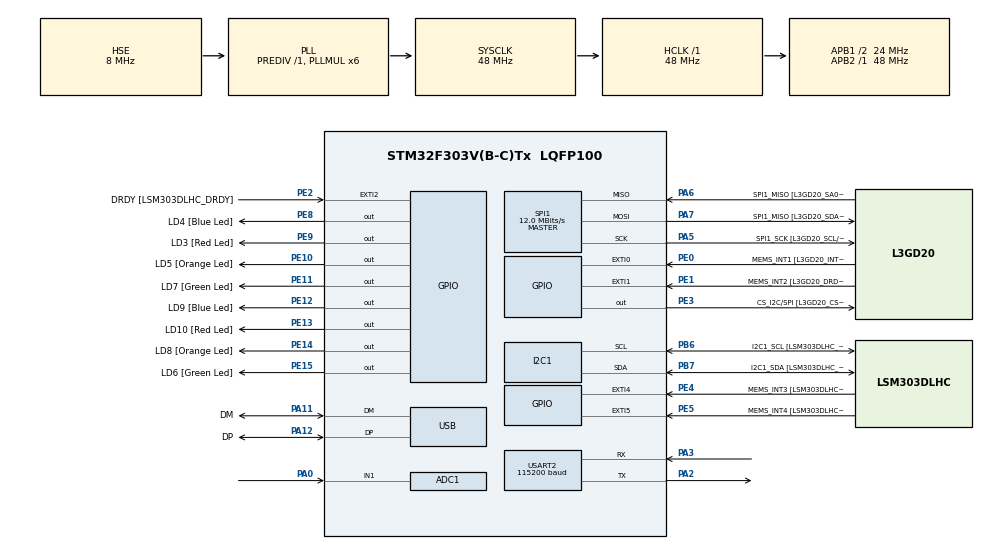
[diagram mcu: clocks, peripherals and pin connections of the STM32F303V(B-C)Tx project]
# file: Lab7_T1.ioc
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ADC1.Channel-0\#ChannelRegularConversion=ADC_CHANNEL_1
ADC1.ContinuousConvMode=ENABLE
ADC1.NbrOfConversionFlag=1
ADC1.Offset-0\#ChannelRegularConversion=0
ADC1.OffsetNumber-0\#ChannelRegularConversion=ADC_OFFSET_NONE
ADC1.Rank-0\#ChannelRegularConversion=1
ADC1.SamplingTime-0\#ChannelRegularConversion=ADC_SAMPLETIME_1CYCLE_5
ADC1.master=1
I2C1.Timing=0x2000090E
I2C1.Timing-I2C=0x2000090E
Mcu.Family=STM32F3
Mcu.Name=STM32F303V(B-C)Tx
Mcu.Package=LQFP100
NVIC.ADC1_2_IRQn=true\:0\:0\:false\:false\:true\:true\:true\:true
NVIC.PriorityGroup=NVIC_PRIORITYGROUP_0
NVIC.USART2_IRQn=true\:0\:0\:false\:false\:true\:true\:true\:true
PA0.Mode=IN1-Single-Ended
PA0.Signal=ADC1_IN1
PA11.GPIO_Label=DM
PA11.Mode=Device
PA11.Signal=USB_DM
PA12.GPIO_Label=DP
PA12.Mode=Device
PA12.Signal=USB_DP
PA13.GPIO_Label=SWDIO
PA13.Mode=Serial_Wire
PA13.Signal=SYS_JTMS-SWDIO
PA14.GPIO_Label=SWCLK
PA14.Mode=Serial_Wire
PA14.Signal=SYS_JTCK-SWCLK
PA2.Mode=Asynchronous
PA2.Signal=USART2_TX
PA3.Mode=Asynchronous
PA3.Signal=USART2_RX
PA5.GPIO_Label=SPI1_SCK [L3GD20_SCL/SPC]
PA5.Mode=Full_Duplex_Master
PA5.Signal=SPI1_SCK
PA6.GPIO_Label=SPI1_MISO [L3GD20_SA0/SDO]
PA6.Mode=Full_Duplex_Master
PA6.Signal=SPI1_MISO
PA7.GPIO_Label=SPI1_MISO [L3GD20_SDA/SDI/SDO]
PA7.Mode=Full_Duplex_Master
PA7.Signal=SPI1_MOSI
PB3.GPIO_Label=SWO
PB3.Signal=SYS_JTDO-TRACESWO
PB6.GPIO_Label=I2C1_SCL [LSM303DLHC_SCL]
PB6.GPIO_Pu=GPIO_PULLUP
PB6.Mode=I2C
PB6.Signal=I2C1_SCL
PB7.GPIO_Label=I2C1_SDA [LSM303DLHC_SDA]
PB7.GPIO_Pu=GPIO_PULLUP
PB7.Mode=I2C
PB7.Signal=I2C1_SDA
PC14-OSC32_IN.GPIO_Label=OSC32_IN
PC14-OSC32_IN.Signal=RCC_OSC32_IN
PC15-OSC32_OUT.GPIO_Label=OSC32_OUT
PC15-OSC32_OUT.Signal=RCC_OSC32_OUT
PE0.GPIO_Label=MEMS_INT1 [L3GD20_INT1]
PE0.GPIO_ModeDefaultEXTI=GPIO_MODE_EVT_RISING
PE0.Signal=GPXTI0
PE1.GPIO_Label=MEMS_INT2 [L3GD20_DRDY/INT2]
PE1.GPIO_ModeDefaultEXTI=GPIO_MODE_EVT_RISING
PE1.Signal=GPXTI1
PE10.GPIO_Label=LD5 [Orange Led]
PE10.Signal=GPIO_Output
PE11.GPIO_Label=LD7 [Green Led]
PE11.Signal=GPIO_Output
PE12.GPIO_Label=LD9 [Blue Led]
PE12.Signal=GPIO_Output
PE13.GPIO_Label=LD10 [Red Led]
PE13.Signal=GPIO_Output
PE14.GPIO_Label=LD8 [Orange Led]
PE14.Signal=GPIO_Output
PE15.GPIO_Label=LD6 [Green Led]
PE15.Signal=GPIO_Output
PE2.GPIO_Label=DRDY [LSM303DLHC_DRDY]
PE2.GPIO_ModeDefaultEXTI=GPIO_MODE_EVT_RISING
PE2.Signal=GPXTI2
PE3.GPIO_Label=CS_I2C/SPI [L3GD20_CS_I2C/SPI]
PE3.Signal=GPIO_Output
PE4.GPIO_Label=MEMS_INT3 [LSM303DLHC_INT1]
PE4.GPIO_ModeDefaultEXTI=GPIO_MODE_EVT_RISING
PE4.Signal=GPXTI4
PE5.GPIO_Label=MEMS_INT4 [LSM303DLHC_INT2]
PE5.GPIO_ModeDefaultEXTI=GPIO_MODE_EVT_RISING
PE5.Signal=GPXTI5
PE8.GPIO_Label=LD4 [Blue Led]
PE8.Signal=GPIO_Output
PE9.GPIO_Label=LD3 [Red Led]
PE9.Signal=GPIO_Output
PF0-OSC_IN.GPIO_Label=OSC_IN
PF0-OSC_IN.Mode=HSE-External-Clock-Source
PF0-OSC_IN.Signal=RCC_OSC_IN
PF1-OSC_OUT.GPIO_Label=OSC_OUT
PF1-OSC_OUT.Signal=RCC_OSC_OUT
ProjectManager.HeapSize=0x200
ProjectManager.StackSize=0x400
ProjectManager.TargetToolchain=CMake
RCC.AHBFreq_Value=48000000
RCC.APB1CLKDivider=RCC_HCLK_DIV2
RCC.APB1Freq_Value=24000000
RCC.APB1TimFreq_Value=48000000
RCC.APB2Freq_Value=48000000
RCC.APB2TimFreq_Value=48000000
RCC.CortexFreq_Value=48000000
RCC.HCLKFreq_Value=48000000
RCC.HSE_VALUE=8000000
RCC.HSI_VALUE=8000000
RCC.LSE_VALUE=32768
RCC.PLLMUL=RCC_PLL_MUL6
RCC.SYSCLKFreq_VALUE=48000000
RCC.SYSCLKSourceVirtual=RCC_SYSCLKSOURCE_PLLCLK
RCC.USBFreq_Value=48000000
SPI1.BaudRatePrescaler=SPI_BAUDRATEPRESCALER_4
SPI1.BaudRatePrescaler-Full_Duplex_Master=SPI_BAUDRATEPRESCALER_2
SPI1.CalculateBaudRate=12.0 MBits/s
SPI1.CalculateBaudRate-Full_Duplex_Master=24.0 MBits/s
SPI1.Direction=SPI_DIRECTION_2LINES
SPI1.Mode=SPI_MODE_MASTER
SPI1.Mode-Full_Duplex_Master=SPI_MODE_MASTER
SPI1.VirtualType=VM_MASTER
STMicroelectronics.X-CUBE-ALGOBUILD.1.4.0.LibraryCcDSPOoLibraryJjDSPOoLibrary=true
USART2.BaudRate=115200
USART2.VirtualMode-Asynchronous=VM_ASYNC
VP_STMicroelectronics.X-CUBE-ALGOBUILD_VS_DSPOoLibraryJjLibrary_1.4.0_1.4.0.Mode=DSPOoLibraryJjLibrary
board=STM32F3DISCOVERY

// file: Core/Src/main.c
/* USER CODE BEGIN Header */
/**
  ******************************************************************************
  * @file           : main.c
  * @brief          : Lab 7 Task 2 - Signal Filtering Using CMSIS DSP
  ******************************************************************************
  * @attention
  *
  * Hardware Setup:
  * - Function generator output connected to PA1 (ADC1_IN1)
  *   - Signal: Sine wave, 1-100 Hz, 0-3.3V amplitude
  * - UART on PA2/PA3 for debug output to Python plotter
  *
  ******************************************************************************
  */
/* USER CODE END Header */

#include "main.h"
#include <stdio.h>
#include <string.h>
#include <stdarg.h>
#include <stdbool.h>

/* CMSIS DSP includes */
#include "arm_math.h"

/* USER CODE BEGIN PD */

#define FILTER_LEN      10           // Moving average filter length
#define SAMPLE_COUNT    100          // Number of samples to collect before sending
#define ADC_REF_VOLTAGE 3300         // Reference voltage in millivolts
#define ADC_MAX_VALUE   4095         // 12-bit ADC max value

/* USER CODE END PD */

ADC_HandleTypeDef hadc1;

I2C_HandleTypeDef hi2c1;

SPI_HandleTypeDef hspi1;

UART_HandleTypeDef huart2;

PCD_HandleTypeDef hpcd_USB_FS;

/* USER CODE BEGIN PV */

// UART buffer for printf
static char uart_buffer[256];

// ADC sample buffers
static volatile uint16_t adc_raw_buffer[SAMPLE_COUNT];
static volatile float32_t adc_float_buffer[SAMPLE_COUNT];
static volatile float32_t filtered_buffer[SAMPLE_COUNT];

// Moving average filter buffer
static float32_t filter_buffer[FILTER_LEN];
static uint8_t filter_index = 0;

// Sampling control
static volatile uint16_t sample_index = 0;
static volatile uint8_t sampling_complete = 0;
static volatile uint32_t sampling_start_time = 0;

/* USER CODE END PV */

void SystemClock_Config(void);
static void MX_GPIO_Init(void);
static void MX_ADC1_Init(void);
static void MX_I2C1_Init(void);
static void MX_SPI1_Init(void);
static void MX_USB_PCD_Init(void);
static void MX_USART2_UART_Init(void);

/* USER CODE BEGIN PFP */

// ===== UART FUNCTIONS =====
void UART_Printf(const char *format, ...);
void UART_SendString(char *str);
void Send_Data_to_Python(void);

// ===== ADC FUNCTIONS =====
void ADC_Init(void);
void ADC_Start_Continuous(void);
void ADC_Stop_Continuous(void);

// ===== FILTER FUNCTIONS =====
void Moving_Average_Init(void);
float32_t Moving_Average_Filter(float32_t new_sample);
void Apply_Filter_to_Buffer(void);

/* USER CODE END PFP */

/* USER CODE BEGIN 0 */

// ===== UART FUNCTIONS =====

/**
  * @brief Simplified printf using UART
  */
void UART_Printf(const char *format, ...)
{
    va_list args;
    va_start(args, format);
    vsnprintf(uart_buffer, sizeof(uart_buffer), format, args);
    va_end(args);

    HAL_UART_Transmit(&huart2, (uint8_t*)uart_buffer, strlen(uart_buffer), HAL_MAX_DELAY);
}

/**
  * @brief Send string over UART
  */
void UART_SendString(char *str)
{
    HAL_UART_Transmit(&huart2, (uint8_t*)str, strlen(str), HAL_MAX_DELAY);
}

/**
  * @brief Send raw and filtered data to Python for plotting
  * Format: raw_value,filtered_value\n
  */
void Send_Data_to_Python(void)
{
    for (int i = 0; i < SAMPLE_COUNT; i++)
    {
        // Convert ADC raw value to voltage (mV) for better plotting
        uint32_t raw_mv = (adc_raw_buffer[i] * ADC_REF_VOLTAGE) / ADC_MAX_VALUE;
        uint32_t filtered_mv = (uint32_t)(filtered_buffer[i] * 1000);  // Convert V to mV

        UART_Printf("%lu,%lu\r\n", raw_mv, filtered_mv);
    }
}

// ===== ADC FUNCTIONS =====

/**
  * @brief Initialize ADC
  */
void ADC_Init(void)
{
    HAL_ADCEx_Calibration_Start(&hadc1, ADC_SINGLE_ENDED);
}

/**
  * @brief Start continuous ADC conversion (interrupt mode)
  */
void ADC_Start_Continuous(void)
{
    sample_index = 0;
    sampling_complete = 0;
    sampling_start_time = HAL_GetTick();

    HAL_ADC_Start_IT(&hadc1);
}

/**
  * @brief Stop continuous ADC conversion
  */
void ADC_Stop_Continuous(void)
{
    HAL_ADC_Stop_IT(&hadc1);
}

/**
  * @brief ADC conversion complete callback
  */
void HAL_ADC_ConvCpltCallback(ADC_HandleTypeDef* hadc)
{
    if (hadc->Instance == ADC1)
    {
        // Store raw ADC value
        adc_raw_buffer[sample_index] = HAL_ADC_GetValue(hadc);

        // Convert to float for filtering (0.0 - 3.3V)
        adc_float_buffer[sample_index] = (adc_raw_buffer[sample_index] * 3.3f) / 4095.0f;

        sample_index++;

        // Check if we've collected enough samples
        if (sample_index >= SAMPLE_COUNT)
        {
            sampling_complete = 1;
            HAL_ADC_Stop_IT(hadc);
        }
        else
        {
            // Start next conversion
            HAL_ADC_Start_IT(hadc);
        }
    }
}

// ===== FILTER FUNCTIONS =====

/**
  * @brief Initialize moving average filter
  */
void Moving_Average_Init(void)
{
    filter_index = 0;

    for (int i = 0; i < FILTER_LEN; i++)
    {
        filter_buffer[i] = 0.0f;
    }
}

/**
  * @brief Apply moving average filter to new sample
  * @param new_sample New input sample
  * @return Filtered output
  */
float32_t Moving_Average_Filter(float32_t new_sample)
{
    float32_t sum = 0.0f;

    // Add new sample to buffer
    filter_buffer[filter_index] = new_sample;
    filter_index = (filter_index + 1) % FILTER_LEN;

    // Calculate average of all samples in buffer
    for (int i = 0; i < FILTER_LEN; i++)
    {
        sum += filter_buffer[i];
    }

    return sum / FILTER_LEN;
}

/**
  * @brief Apply filter to entire ADC buffer
  */
void Apply_Filter_to_Buffer(void)
{
    // Reset filter
    Moving_Average_Init();

    // Apply filter to each sample
    for (int i = 0; i < SAMPLE_COUNT; i++)
    {
        filtered_buffer[i] = Moving_Average_Filter(adc_float_buffer[i]);
    }
}

/* USER CODE END 0 */

int main(void)
{

    /* MCU Configuration--------------------------------------------------------*/

    /* Reset of all peripherals, Initializes the Flash interface and the Systick. */
    HAL_Init();

    /* Configure the system clock */
    SystemClock_Config();

    /* Initialize all configured peripherals */
    MX_GPIO_Init();
    MX_ADC1_Init();
    MX_I2C1_Init();
    MX_SPI1_Init();
    MX_USART2_UART_Init();
    MX_USB_PCD_Init();

    /* USER CODE BEGIN 2 */

    // Initialize modules
    ADC_Init();
    Moving_Average_Init();

    // Print header
    UART_Printf("\033[2J\033[H"); // Clear screen
    UART_Printf("========================================\r\n");
    UART_Printf("   LAB 7 TASK 2: SIGNAL FILTERING\r\n");
    UART_Printf("========================================\r\n\n");
    UART_Printf("ADC: 12-bit, Vref: 3.3V\r\n");
    UART_Printf("Filter: Moving Average (N=%d)\r\n", FILTER_LEN);
    UART_Printf("Sample Count: %d\r\n", SAMPLE_COUNT);
    UART_Printf("\r\nStarting data acquisition...\r\n\n");
    UART_Printf("Send this data to Python plotter\r\n");
    UART_Printf("Format: raw_mV,filtered_mV\r\n\n");

    /* USER CODE END 2 */

    /* Infinite loop */
    while (1)
    {

        /* USER CODE BEGIN 3 */

        // Start ADC sampling in interrupt mode
        ADC_Start_Continuous();

        // Wait for sampling to complete
        while (!sampling_complete)
        {
            HAL_Delay(1);
        }

        // Calculate actual sampling rate
        uint32_t sampling_time = HAL_GetTick() - sampling_start_time;
        float sampling_rate = (SAMPLE_COUNT * 1000.0f) / sampling_time;

        UART_Printf("\r\nCollected %d samples in %lu ms\r\n",
                   SAMPLE_COUNT, sampling_time);
        UART_Printf("Sampling rate: %.2f Hz\r\n\n", sampling_rate);

        // Apply filter to the buffer
        Apply_Filter_to_Buffer();

        // Send data to Python for plotting
        UART_Printf("=== DATA START ===\r\n");
        Send_Data_to_Python();
        UART_Printf("=== DATA END ===\r\n\n");

        // Wait before next acquisition
        UART_Printf("Waiting 2 seconds before next acquisition...\r\n\n");
        HAL_Delay(2000);
    }
    /* USER CODE END 3 */
}

void SystemClock_Config(void)
{
    RCC_OscInitTypeDef RCC_OscInitStruct = {0};
    RCC_ClkInitTypeDef RCC_ClkInitStruct = {0};
    RCC_PeriphCLKInitTypeDef PeriphClkInit = {0};

    /** Initializes the RCC Oscillators according to the specified parameters
    * in the RCC_OscInitTypeDef structure.
    */
    RCC_OscInitStruct.OscillatorType = RCC_OSCILLATORTYPE_HSI|RCC_OSCILLATORTYPE_HSE;
    RCC_OscInitStruct.HSEState = RCC_HSE_BYPASS;
    RCC_OscInitStruct.HSEPredivValue = RCC_HSE_PREDIV_DIV1;
    RCC_OscInitStruct.HSIState = RCC_HSI_ON;
    RCC_OscInitStruct.HSICalibrationValue = RCC_HSICALIBRATION_DEFAULT;
    RCC_OscInitStruct.PLL.PLLState = RCC_PLL_ON;
    RCC_OscInitStruct.PLL.PLLSource = RCC_PLLSOURCE_HSE;
    RCC_OscInitStruct.PLL.PLLMUL = RCC_PLL_MUL6;
    if (HAL_RCC_OscConfig(&RCC_OscInitStruct) != HAL_OK)
    {
        Error_Handler();
    }

    /** Initializes the CPU, AHB and APB buses clocks
    */
    RCC_ClkInitStruct.ClockType = RCC_CLOCKTYPE_HCLK|RCC_CLOCKTYPE_SYSCLK
                              |RCC_CLOCKTYPE_PCLK1|RCC_CLOCKTYPE_PCLK2;
    RCC_ClkInitStruct.SYSCLKSource = RCC_SYSCLKSOURCE_PLLCLK;
    RCC_ClkInitStruct.AHBCLKDivider = RCC_SYSCLK_DIV1;
    RCC_ClkInitStruct.APB1CLKDivider = RCC_HCLK_DIV2;
    RCC_ClkInitStruct.APB2CLKDivider = RCC_HCLK_DIV1;

    if (HAL_RCC_ClockConfig(&RCC_ClkInitStruct, FLASH_LATENCY_1) != HAL_OK)
    {
        Error_Handler();
    }
    PeriphClkInit.PeriphClockSelection = RCC_PERIPHCLK_USB|RCC_PERIPHCLK_USART2
                              |RCC_PERIPHCLK_I2C1|RCC_PERIPHCLK_ADC12;
    PeriphClkInit.Usart2ClockSelection = RCC_USART2CLKSOURCE_PCLK1;
    PeriphClkInit.Adc12ClockSelection = RCC_ADC12PLLCLK_DIV1;
    PeriphClkInit.I2c1ClockSelection = RCC_I2C1CLKSOURCE_HSI;
    PeriphClkInit.USBClockSelection = RCC_USBCLKSOURCE_PLL;
    if (HAL_RCCEx_PeriphCLKConfig(&PeriphClkInit) != HAL_OK)
    {
        Error_Handler();
    }
}

static void MX_ADC1_Init(void)
{
    ADC_MultiModeTypeDef multimode = {0};
    ADC_ChannelConfTypeDef sConfig = {0};

    /** Common config
    */
    hadc1.Instance = ADC1;
    hadc1.Init.ClockPrescaler = ADC_CLOCK_ASYNC_DIV1;
    hadc1.Init.Resolution = ADC_RESOLUTION_12B;
    hadc1.Init.ScanConvMode = ADC_SCAN_DISABLE;
    hadc1.Init.ContinuousConvMode = DISABLE;
    hadc1.Init.DiscontinuousConvMode = DISABLE;
    hadc1.Init.ExternalTrigConvEdge = ADC_EXTERNALTRIGCONVEDGE_NONE;
    hadc1.Init.ExternalTrigConv = ADC_SOFTWARE_START;
    hadc1.Init.DataAlign = ADC_DATAALIGN_RIGHT;
    hadc1.Init.NbrOfConversion = 1;
    hadc1.Init.DMAContinuousRequests = DISABLE;
    hadc1.Init.EOCSelection = ADC_EOC_SINGLE_CONV;
    hadc1.Init.LowPowerAutoWait = DISABLE;
    hadc1.Init.Overrun = ADC_OVR_DATA_OVERWRITTEN;
    if (HAL_ADC_Init(&hadc1) != HAL_OK)
    {
        Error_Handler();
    }

    /** Configure the ADC multi-mode
    */
    multimode.Mode = ADC_MODE_INDEPENDENT;
    if (HAL_ADCEx_MultiModeConfigChannel(&hadc1, &multimode) != HAL_OK)
    {
        Error_Handler();
    }

    /** Configure Regular Channel
    */
    sConfig.Channel = ADC_CHANNEL_1;
    sConfig.Rank = ADC_REGULAR_RANK_1;
    sConfig.SamplingTime = ADC_SAMPLETIME_601CYCLES_5;
    sConfig.SingleDiff = ADC_SINGLE_ENDED;
    sConfig.OffsetNumber = ADC_OFFSET_NONE;
    sConfig.Offset = 0;
    if (HAL_ADC_ConfigChannel(&hadc1, &sConfig) != HAL_OK)
    {
        Error_Handler();
    }

    /* Enable ADC interrupt */
    HAL_NVIC_SetPriority(ADC1_IRQn, 5, 0);
    HAL_NVIC_EnableIRQ(ADC1_IRQn);

}

static void MX_I2C1_Init(void)
{
    hi2c1.Instance = I2C1;
    hi2c1.Init.Timing = 0x2000090E;
    hi2c1.Init.OwnAddress1 = 0;
    hi2c1.Init.AddressingMode = I2C_ADDRESSINGMODE_7BIT;
    hi2c1.Init.DualAddressMode = I2C_DUALADDRESS_DISABLE;
    hi2c1.Init.OwnAddress2 = 0;
    hi2c1.Init.OwnAddress2Masks = I2C_OA2_NOMASK;
    hi2c1.Init.GeneralCallMode = I2C_GENERALCALL_DISABLE;
    hi2c1.Init.NoStretchMode = I2C_NOSTRETCH_DISABLE;

    if (HAL_I2C_Init(&hi2c1) != HAL_OK)
    {
        Error_Handler();
    }

    if (HAL_I2CEx_ConfigAnalogFilter(&hi2c1, I2C_ANALOGFILTER_ENABLE) != HAL_OK)
    {
        Error_Handler();
    }

    if (HAL_I2CEx_ConfigDigitalFilter(&hi2c1, 0) != HAL_OK)
    {
        Error_Handler();
    }
}

static void MX_SPI1_Init(void)
{
    /* SPI1 parameter configuration*/
    hspi1.Instance = SPI1;
    hspi1.Init.Mode = SPI_MODE_MASTER;
    hspi1.Init.Direction = SPI_DIRECTION_2LINES;
    hspi1.Init.DataSize = SPI_DATASIZE_4BIT;
    hspi1.Init.CLKPolarity = SPI_POLARITY_LOW;
    hspi1.Init.CLKPhase = SPI_PHASE_1EDGE;
    hspi1.Init.NSS = SPI_NSS_SOFT;
    hspi1.Init.BaudRatePrescaler = SPI_BAUDRATEPRESCALER_4;
    hspi1.Init.FirstBit = SPI_FIRSTBIT_MSB;
    hspi1.Init.TIMode = SPI_TIMODE_DISABLE;
    hspi1.Init.CRCCalculation = SPI_CRCCALCULATION_DISABLE;
    hspi1.Init.CRCPolynomial = 7;
    hspi1.Init.CRCLength = SPI_CRC_LENGTH_DATASIZE;
    hspi1.Init.NSSPMode = SPI_NSS_PULSE_ENABLE;

    if (HAL_SPI_Init(&hspi1) != HAL_OK)
    {
        Error_Handler();
    }
}

static void MX_USART2_UART_Init(void)
{
    huart2.Instance = USART2;
    huart2.Init.BaudRate = 115200;
    huart2.Init.WordLength = UART_WORDLENGTH_8B;
    huart2.Init.StopBits = UART_STOPBITS_1;
    huart2.Init.Parity = UART_PARITY_NONE;
    huart2.Init.Mode = UART_MODE_TX_RX;
    huart2.Init.HwFlowCtl = UART_HWCONTROL_NONE;
    huart2.Init.OverSampling = UART_OVERSAMPLING_16;
    huart2.Init.OneBitSampling = UART_ONE_BIT_SAMPLE_DISABLE;

    if (HAL_UART_Init(&huart2) != HAL_OK)
    {
        Error_Handler();
    }
}

static void MX_USB_PCD_Init(void)
{
    hpcd_USB_FS.Instance = USB;
    hpcd_USB_FS.Init.dev_endpoints = 8;
    hpcd_USB_FS.Init.speed = PCD_SPEED_FULL;
    hpcd_USB_FS.Init.phy_itface = PCD_PHY_EMBEDDED;
    hpcd_USB_FS.Init.low_power_enable = DISABLE;
    hpcd_USB_FS.Init.battery_charging_enable = DISABLE;

    if (HAL_PCD_Init(&hpcd_USB_FS) != HAL_OK)
    {
        Error_Handler();
    }
}

static void MX_GPIO_Init(void)
{
    GPIO_InitTypeDef GPIO_InitStruct = {0};

    /* GPIO Ports Clock Enable */
    __HAL_RCC_GPIOE_CLK_ENABLE();
    __HAL_RCC_GPIOC_CLK_ENABLE();
    __HAL_RCC_GPIOF_CLK_ENABLE();
    __HAL_RCC_GPIOA_CLK_ENABLE();
    __HAL_RCC_GPIOB_CLK_ENABLE();

    /* Configure GPIO pin Output Level for onboard LEDs */
    HAL_GPIO_WritePin(GPIOE, CS_I2C_SPI_Pin|LD4_Pin|LD3_Pin|LD5_Pin
                          |LD7_Pin|LD9_Pin|LD10_Pin|LD8_Pin
                          |LD6_Pin, GPIO_PIN_RESET);

    /* Configure GPIO pins for onboard peripherals */
    GPIO_InitStruct.Pin = DRDY_Pin|MEMS_INT3_Pin|MEMS_INT4_Pin|MEMS_INT1_Pin
                          |MEMS_INT2_Pin;
    GPIO_InitStruct.Mode = GPIO_MODE_EVT_RISING;
    GPIO_InitStruct.Pull = GPIO_NOPULL;
    HAL_GPIO_Init(GPIOE, &GPIO_InitStruct);

    /* Configure GPIO pins for onboard LEDs */
    GPIO_InitStruct.Pin = CS_I2C_SPI_Pin|LD4_Pin|LD3_Pin|LD5_Pin
                          |LD7_Pin|LD9_Pin|LD10_Pin|LD8_Pin
                          |LD6_Pin;
    GPIO_InitStruct.Mode = GPIO_MODE_OUTPUT_PP;
    GPIO_InitStruct.Pull = GPIO_NOPULL;
    GPIO_InitStruct.Speed = GPIO_SPEED_FREQ_LOW;
    HAL_GPIO_Init(GPIOE, &GPIO_InitStruct);

    /* Configure PA1 as analog input for ADC */
    GPIO_InitStruct.Pin = GPIO_PIN_1;
    GPIO_InitStruct.Mode = GPIO_MODE_ANALOG;
    GPIO_InitStruct.Pull = GPIO_NOPULL;
    HAL_GPIO_Init(GPIOA, &GPIO_InitStruct);

    /* Configure PA2 (UART TX) as alternate function */
    GPIO_InitStruct.Pin = GPIO_PIN_2;
    GPIO_InitStruct.Mode = GPIO_MODE_AF_PP;
    GPIO_InitStruct.Pull = GPIO_PULLUP;
    GPIO_InitStruct.Speed = GPIO_SPEED_FREQ_HIGH;
    GPIO_InitStruct.Alternate = GPIO_AF7_USART2;
    HAL_GPIO_Init(GPIOA, &GPIO_InitStruct);

    /* Configure PA3 (UART RX) as alternate function */
    GPIO_InitStruct.Pin = GPIO_PIN_3;
    GPIO_InitStruct.Mode = GPIO_MODE_AF_PP;
    GPIO_InitStruct.Pull = GPIO_PULLUP;
    GPIO_InitStruct.Speed = GPIO_SPEED_FREQ_HIGH;
    GPIO_InitStruct.Alternate = GPIO_AF7_USART2;
    HAL_GPIO_Init(GPIOA, &GPIO_InitStruct);
}

void Error_Handler(void)
{
    __disable_irq();
    while (1)
    {
    }
}
